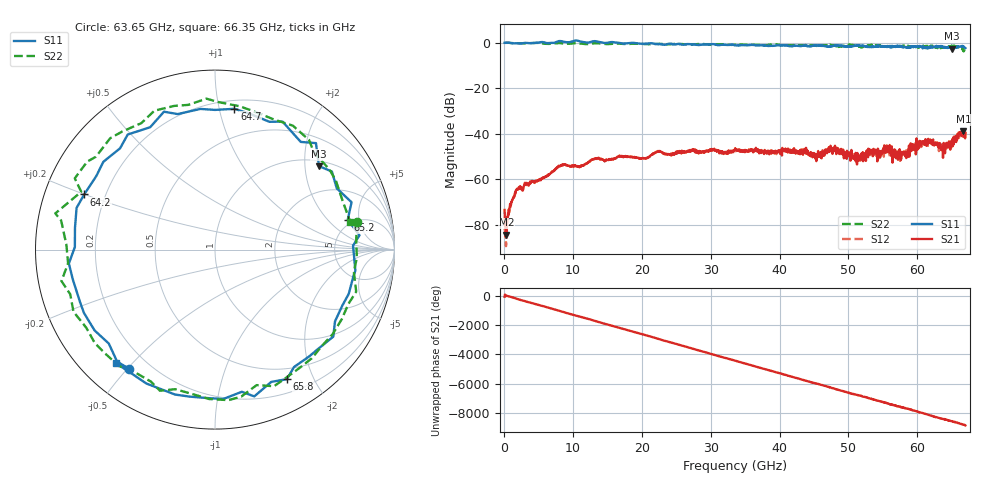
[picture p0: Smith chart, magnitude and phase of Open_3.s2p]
#  HZ  S  MA  R  50.00
! Rohde & Schwarz ZVA67 4Ports - Version 4.11 - 1305.7002k04 SN: 101051
! Date: 2023-05-31 11:08:44
! Measurements: S11 S21 S12 S22
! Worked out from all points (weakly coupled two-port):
!   1340 points, 50 MHz to 67 GHz, reference 50 ohm
!   highest |S21| = -38.95 dB at 66.7 GHz (marker M1); lowest = -84.4 dB at 300 MHz (marker M2)
!   lowest |S11| = -2.6 dB at 65 GHz (marker M3), VSWR 6.78, Z = 56.9 + j118 ohm
!   |S11| at or under -10 dB: nowhere
!   |S22| runs from -3.8 to 0.1 dB; largest |S21 - S12| = 0.0034
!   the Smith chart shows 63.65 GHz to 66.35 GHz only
!   S11 on the Smith chart (normalised r, x): 63.65 GHz: 0.13, -0.51; 64.2 GHz: 0.12, +0.20; 64.7 GHz: 0.26, +1.11; 65.2 GHz: 4.46, +3.48; 65.8 GHz: 0.36, -1.64; 66.35 GHz: 0.10, -0.45
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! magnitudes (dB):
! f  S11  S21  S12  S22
! 50 MHz  0.0  -73.5  -81.8  0.0
! 300 MHz  0.1  -84.4  -85.3  0.1
! 2.1 GHz  -0.2  -64.0  -63.6  -0.2
! 8.15 GHz  0.8  -54.1  -54.2  -0.1
! 11.25 GHz  0.5  -54.0  -53.9  -0.4
! 22.4 GHz  -0.6  -47.7  -47.7  -0.4
! 33.55 GHz  -1.1  -46.4  -47.2  -0.7
! 44.7 GHz  -1.4  -49.3  -49.3  -1.0
! 48.25 GHz  -1.2  -48.9  -47.1  -1.5
! 51.45 GHz  -1.1  -51.2  -49.5  -1.6
! 55.85 GHz  -1.7  -47.4  -46.9  -1.6
! 57.05 GHz  -1.7  -49.5  -48.1  -1.5
! 60.65 GHz  -1.8  -43.8  -44.5  -1.5
! 63.65 GHz  -1.7  -45.8  -45.4  -1.9
! 64.2 GHz  -2.0  -45.9  -46.2  -1.8
! 64.7 GHz  -2.0  -44.3  -44.9  -1.8
! 65 GHz  -2.6  -43.9  -44.8  -1.5
! 65.2 GHz  -2.4  -44.3  -45.2  -1.2
! 65.8 GHz  -1.7  -42.5  -40.2  -1.5
! 66.35 GHz  -1.5  -39.2  -40.1  -2.3
! 66.7 GHz  -1.5  -39.0  -40.1  -2.8
! 67 GHz  -2.3  -39.8  -38.9  -2.8
